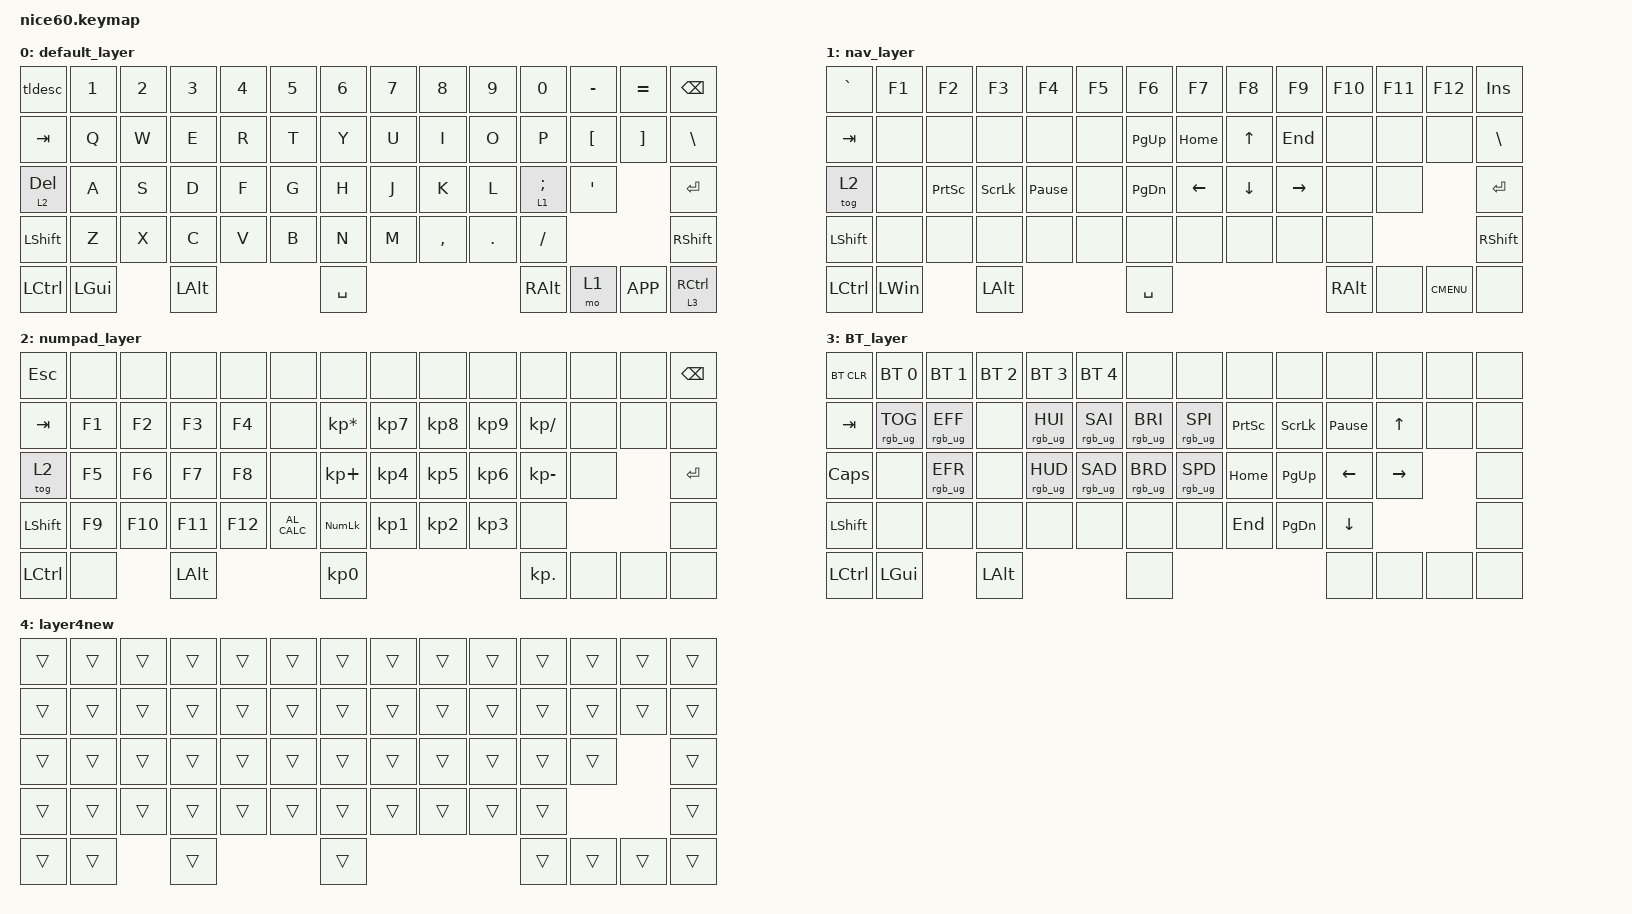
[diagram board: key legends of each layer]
/*
 * Copyright (c) 2021 Nick Winans
 *
 * SPDX-License-Identifier: MIT
 */

#include <dt-bindings/zmk/reset.h>
#include <behaviors.dtsi>
#include <dt-bindings/zmk/bt.h>
#include <dt-bindings/zmk/keys.h>
#include <dt-bindings/zmk/rgb.h>

/ {
    behaviors {
        tldesc: tilde_escape {
            compatible = "zmk,behavior-mod-morph";
            label = "TILDE_ESCAPE";
            #binding-cells = <0>;
            bindings = <&kp ESC>, <&kp TILDE>;

            mods = <(MOD_LSFT|MOD_RSFT)>;
        };
        mt: mod_tap {
            compatible = "zmk,behavior-hold-tap";
            #binding-cells = <2>;
            flavor = "balanced"; // 원래는 hold-preferred였음
            tapping-term-ms = <200>;
            bindings = <&kp>, <&kp>;
            display-name = "Mod-Tap";
        };
        lt: layer_tap {
            compatible = "zmk,behavior-hold-tap";
            #binding-cells = <2>;
            flavor = "balanced"; // 원래는 tap-preferred였음
            tapping-term-ms = <200>;
            bindings = <&mo>, <&kp>;
            display-name = "Layer-Tap";
        };
    };
};

/ {
    combos {
        compatible = "zmk,combos";

        ESCcombo {
            bindings = <&kp ESC>;
            key-positions = <0 1>;
        };
    };

    keymap {
        compatible = "zmk,keymap";

        default_layer {
            // ------------------------------------------------------------------------------------------
            // | ESC~ |  1  |  2  |  3  |  4  |  5  |  6  |  7  |  8  |  9  |  0  |  -  |  =  |   BSPC  |
            // | TAB  |  Q  |  W  |  E  |  R  |  T  |  Y  |  U  |  I  |  O  |  P  |  [  |  ]  |   BSLH   |
            // | LT(2, DEL)  |  A  |  S  |  D  |  F  |  G  |  H  |  J  |  K  |  L  |  LT(1,;)  |  '  | ENTER |
            // |  SHIFT  |  Z  |  X  |  C  |  V  |  B  |  N  |  M  |  ,  |  .  |  /  |      SHIFT       |
            // |  CTL  |  WIN  |  ALT  |            SPACE              |  ALT  |  MO(1)  | RApp |LT(3,CTL)|
            // ------------------------------------------------------------------------------------------

            bindings = <
&tldesc    &kp N1    &kp N2  &kp N3    &kp N4  &kp N5  &kp N6     &kp N7  &kp N8     &kp N9   &kp N0      &kp MINUS  &kp EQUAL  &kp BSPC
&kp TAB    &kp Q     &kp W   &kp E     &kp R   &kp T   &kp Y      &kp U   &kp I      &kp O    &kp P       &kp LBKT   &kp RBKT   &kp BSLH
&lt 2 DEL  &kp A     &kp S   &kp D     &kp F   &kp G   &kp H      &kp J   &kp K      &kp L    &lt 1 SEMI  &kp SQT               &kp RET
&kp LSHFT  &kp Z     &kp X   &kp C     &kp V   &kp B   &kp N      &kp M   &kp COMMA  &kp DOT  &kp FSLH                          &kp RSHFT
&kp LCTRL  &kp LGUI          &kp LALT                  &kp SPACE                              &kp RALT    &mo 1      &kp K_APP  &lt 3 RCTRL
            >;
        };

        nav_layer {
            // ------------------------------------------------------------------------------------------------
            // |    `   | F1  | F2  | F3  | F4  | F5  | F6  | F7  | F8  | F9  | F10  | F11 | F12 |   Insert   |
            // |  TAB    |     |     |     |     |     |PG_UP|HOME |  UP | END |      |     |     |   "\"     |
            // |  TG(2)   |     |Print|Scroll|Pause|    |PG_DN| LT  | DN  | RT  |      |     |       ENTER    |
            // |    SHIFT   |     |     |      |     |    |     |     |     |     |     |        SHIFT        |
            // |   CTL  | WIN  | ALT |             SPACE                    | ALT |  trans  |  RApp   |       |
            // ------------------------------------------------------------------------------------------------

            bindings = <
&kp GRAVE  &kp F1    &kp F2     &kp F3    &kp F4           &kp F5  &kp F6     &kp F7    &kp F8    &kp F9     &kp F10   &kp F11  &kp F12      &kp INS
&kp TAB    &none     &none      &none     &none            &none   &kp PG_UP  &kp HOME  &kp UP    &kp END    &none     &none    &none        &kp BSLH
&tog 2     &none     &kp PSCRN  &kp SLCK  &kp PAUSE_BREAK  &none   &kp PG_DN  &kp LEFT  &kp DOWN  &kp RIGHT  &none     &none                 &kp RET
&kp LSHFT  &none     &none      &none     &none            &none   &none      &none     &none     &none      &none                           &kp RSHFT
&kp LCTRL  &kp LWIN             &kp LALT                           &kp SPACE                                 &kp RALT  &none    &kp K_CMENU  &none
            >;
        };

        numpad_layer {
            // ------------------------------------------------------------------------------------------------
            // |  ESC   |     |     |     |     |     |     |     |     |     |      |     |     |   BSPC     |
            // |  TAB    |  F1 |  F2 |  F3 |  F4 |     |  *  |  7  |  8  |  9  |   /  |     |     |           |
            // |  TG(2)   |  F5 |  F6 |  F7  |  F8 |    |  +  |  4  |  5  |  6  |  -   |     |       ENTER    |
            // |    SHIFT   |  F9 | F10 | F11 | F12 |Calc|Numlock|  1  |  2  |  3  |     |                      |
            // |   CTL  |      | ALT |                0                    |  .   |      |         |          |
            // ------------------------------------------------------------------------------------------------

            bindings = <
&kp ESC    &none   &none    &none     &none    &none          &none            &none      &none      &none      &none          &none  &none  &kp BSPC
&kp TAB    &kp F1  &kp F2   &kp F3    &kp F4   &none          &kp KP_MULTIPLY  &kp KP_N7  &kp KP_N8  &kp KP_N9  &kp KP_DIVIDE  &none  &none  &none
&tog 2     &kp F5  &kp F6   &kp F7    &kp F8   &none          &kp KP_PLUS      &kp KP_N4  &kp KP_N5  &kp KP_N6  &kp KP_MINUS   &none         &kp RET
&kp LSHFT  &kp F9  &kp F10  &kp F11   &kp F12  &kp C_AL_CALC  &kp KP_NUMLOCK   &kp KP_N1  &kp KP_N2  &kp KP_N3  &none                        &none
&kp LCTRL  &none            &kp LALT                          &kp KP_N0                                         &kp KP_DOT     &none  &none  &none
            >;
        };

        BT_layer {
            // ------------------------------------------------------------------------------------------------
            // | BT CLR |  BT 1   |BT 2|BT 3| BT 4 |     |     |     |     |     |      |     |     |          |
            // |  TAB    | RGB_TOG | EFF |   | HUEUP | SATUP | BRIUP | SPDUP |Print|Scrll|Pause|UP|  |        |
            // |   CAPS   |         | EFR |   | HUEDN | SATDN | BRIDN | SPDDN |HOME |PGUP |LT   |RT|          |
            // |   SHIFT     |        |     |   |       |       |       |       | END | PGDN| DN  |           |
            // |   CTL  |  WIN | ALT  |                                    |         |       |       |       |
            // ------------------------------------------------------------------------------------------------

            bindings = <
&bt BT_CLR      &bt BT_SEL 0     &bt BT_SEL 1     &bt BT_SEL 2  &bt BT_SEL 3     &bt BT_SEL 4     &none            &none            &none      &none      &none            &none      &none  &none
&kp TAB         &rgb_ug RGB_TOG  &rgb_ug RGB_EFF  &none         &rgb_ug RGB_HUI  &rgb_ug RGB_SAI  &rgb_ug RGB_BRI  &rgb_ug RGB_SPI  &kp PSCRN  &kp SLCK   &kp PAUSE_BREAK  &kp UP     &none  &none
&kp CLCK        &none            &rgb_ug RGB_EFR  &none         &rgb_ug RGB_HUD  &rgb_ug RGB_SAD  &rgb_ug RGB_BRD  &rgb_ug RGB_SPD  &kp HOME   &kp PG_UP  &kp LEFT         &kp RIGHT         &none
&kp LEFT_SHIFT  &none            &none            &none         &none            &none            &none            &none            &kp END    &kp PG_DN  &kp DOWN                           &none
&kp LCTRL       &kp LEFT_GUI                      &kp LEFT_ALT                                    &none                                                   &none            &none      &none  &none
            >;
        };

        layer4new {
            bindings = <
&trans  &trans  &trans  &trans  &trans  &trans  &trans  &trans  &trans  &trans  &trans  &trans  &trans  &trans
&trans  &trans  &trans  &trans  &trans  &trans  &trans  &trans  &trans  &trans  &trans  &trans  &trans  &trans
&trans  &trans  &trans  &trans  &trans  &trans  &trans  &trans  &trans  &trans  &trans  &trans          &trans
&trans  &trans  &trans  &trans  &trans  &trans  &trans  &trans  &trans  &trans  &trans                  &trans
&trans  &trans          &trans                  &trans                          &trans  &trans  &trans  &trans
            >;
        };
    };
};
